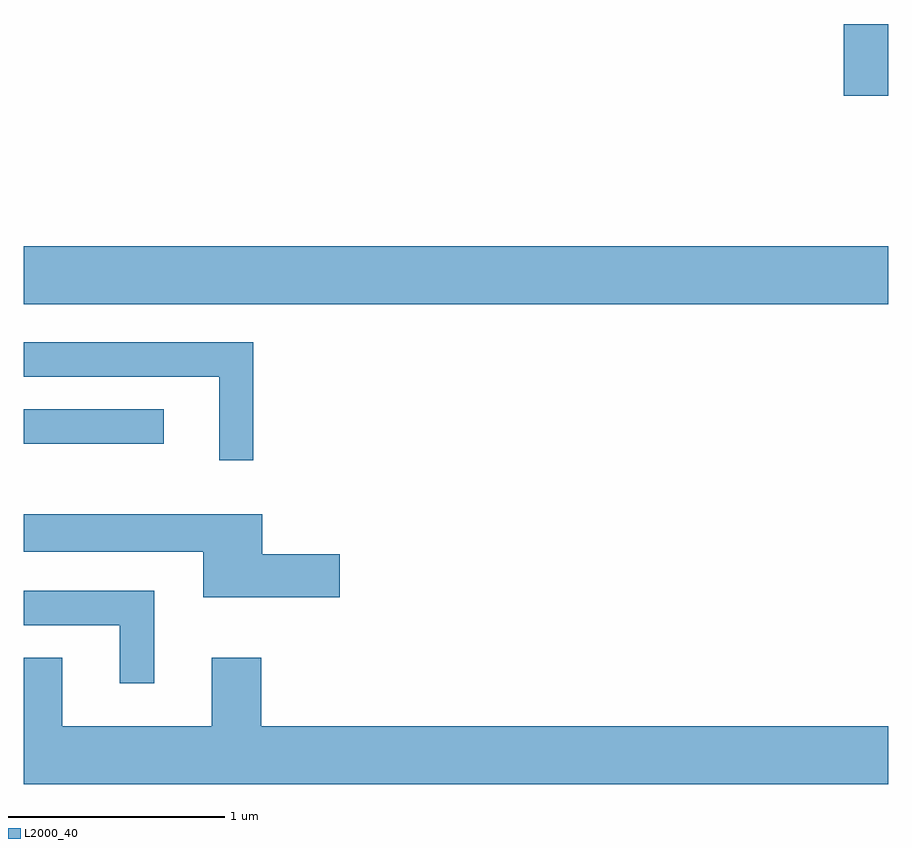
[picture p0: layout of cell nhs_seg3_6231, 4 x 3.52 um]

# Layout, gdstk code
import gdstk
lib = gdstk.Library(unit=1e-6, precision=1e-09)
def R(c, l, rs):  # rectangles x0, y0, x1, y1
    for r in rs: c.add(gdstk.rectangle(r[:2], r[2:], *l))
def P(c, l, *ps):  # polygons
    for p in ps: c.add(gdstk.Polygon(p, *l))
L2000_40 = (2000, 40)

nhs_seg3_6231 = lib.new_cell('nhs_seg3_6231')
R(nhs_seg3_6231, L2000_40, [(367.611,1211.951,368.258,1212.109), (367.611,1212.596,371.611,1212.864), (371.406,1213.561,371.611,1213.892)])
P(nhs_seg3_6231, L2000_40, [(368.674,1212.419),(367.611,1212.419),(367.611,1212.261),(368.516,1212.261),(368.516,1211.873),(368.674,1211.873)],
  [(369.074,1211.439),(368.714,1211.439),(368.714,1211.624),(367.611,1211.624),(367.611,1211.451),(368.441,1211.451),(368.441,1211.241),(369.074,1211.241)],
  [(368.214,1211.269),(367.611,1211.269),(367.611,1211.111),(368.056,1211.111),(368.056,1210.843),(368.214,1210.843)],
  [(371.611,1210.644),(368.709,1210.644),(368.709,1210.959),(368.481,1210.959),(368.481,1210.644),(367.789,1210.644),(367.789,1210.959),(367.611,1210.959),(367.611,1210.376),(371.611,1210.376)])

lib.write_gds('nhs_seg3_6231.gds')
